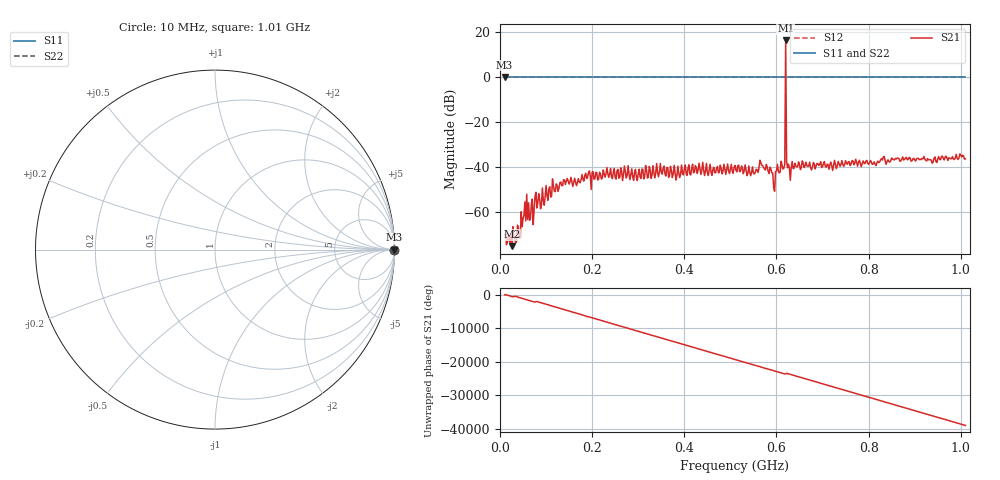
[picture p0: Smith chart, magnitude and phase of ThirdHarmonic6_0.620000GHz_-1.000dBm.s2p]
! 8/15/2025 8:23:34 PM
! C:\ANRITSUVNA\TEMP\TEMP.S2P
! CHANNEL.1
! TR.MEASUREMENT
! RAW.DATA
! RF.CORRECTION.OFF
! AVERAGING.OFF
! IF.BANDWIDTH: 5KHZ
! SWEEPTYPE:  FREQ.SWEEP(Linear)
! Reference Plane Port Info
! PORT:  PORT1  PORT2
! DISTANCE:  0  m  0  m
! TIME:  0  s  0  s
! PHASE.OFFSET:  0  deg.  0  deg.
! LOSS:  0  dB  0  dB
! REF.LOSS:  0  dB  0  dB
! REF.FREQ:  0  Hz  0  Hz
! Power Info
! POWER:  -20  dBm  -20  dBm
! EFF.POWER:  -20  dBm  -20  dBm
! SOURCE.ATTEN:  0  dB  0  dB
! TEST.ATTEN:  0  dB  0  dB
# GHZ S RI R 50.0
! FREQ.GHZ  S11RE  S11IM  S21RE  S21IM  S12RE  S12IM  S22RE  S22IM
!; PortSelection: Port_12
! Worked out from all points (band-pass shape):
!   501 points, 10 MHz to 1.01 GHz, reference 50 ohm
!   highest |S21| = 16.35 dB at 620 MHz (marker M1); lowest = -75.5 dB at 26 MHz (marker M2)
!   |S21| within 3 dB of the highest: 619.8916 MHz to 620.1111 MHz (219.4 kHz wide, 0.0354 % of centre)
!   lowest |S11| = 0.0 dB at 10 MHz (marker M3)
!   |S11| at or under -10 dB: nowhere
!   |S22| runs from 0.0 to 0.0 dB; largest |S21 - S12| = 7.5
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0.01  1 0  0.000181 0.000232  1 0  1 0
0.026  1 0  -5.27e-05 -0.00016  1 0  1 0
0.04  1 0  0.000422 2.61e-05  1 0  1 0
0.054  1 0  -0.00155 0.000517  1 0  1 0
0.068  1 0  0.00143 3.83e-05  1 0  1 0
0.08  1 0  -0.00107 -0.000535  1 0  1 0
0.092  1 0  0.000472 0.00331  1 0  1 0
0.142  1 0  -0.0036 -0.00175  1 0  1 0
0.178  1 0  -0.00641 -0.00189  1 0  1 0
0.344  1 0  0.00596 0.000216  1 0  1 0
0.51  1 0  -0.0106 0.00085  1 0  1 0
0.548  1 0  -0.00234 0.00967  1 0  1 0
0.568  1 0  0.0104 0.0025  1 0  1 0
0.594  1 0  -0.000994 0.00319  1 0  1 0
0.614  1 0  0.00807 -0.00375  1 0  1 0
0.616  1 0  -0.000509 -0.00923  1 0  1 0
0.62  1 0  -6.221 -2.118  1 0  1 0
0.624  1 0  0.00585 -0.00747  1 0  1 0
0.626  1 0  -0.00928 -0.00659  1 0  1 0
0.678  1 0  0.00471 -0.00861  1 0  1 0
0.844  1 0  -0.00352 0.0125  1 0  1 0
1.01  1 0  0.00385 -0.0144  1 0  1 0
